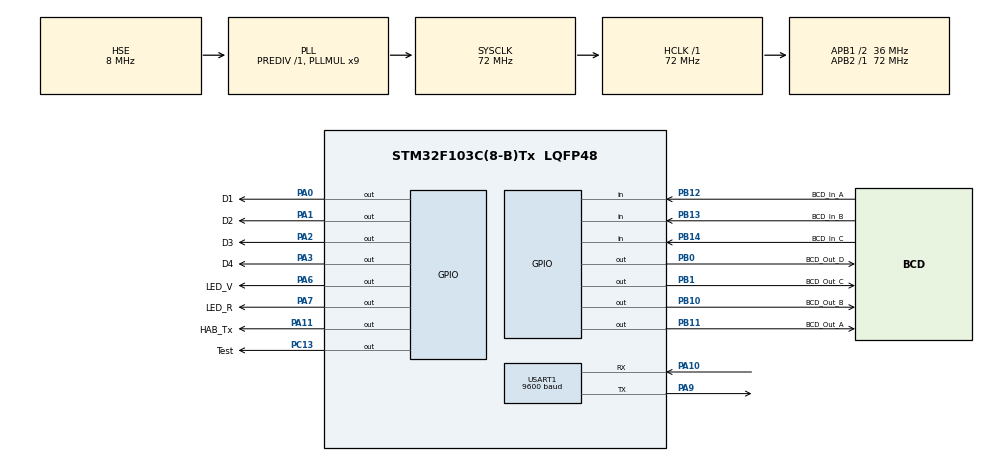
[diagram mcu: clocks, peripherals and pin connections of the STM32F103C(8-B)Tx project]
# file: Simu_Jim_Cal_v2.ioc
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Mcu.Family=STM32F1
Mcu.Name=STM32F103C(8-B)Tx
Mcu.Package=LQFP48
NVIC.PriorityGroup=NVIC_PRIORITYGROUP_4
NVIC.TIM2_IRQn=true\:0\:0\:false\:false\:true\:true\:true
NVIC.USART1_IRQn=true\:0\:0\:false\:false\:true\:true\:true
PA0-WKUP.GPIO_Label=D1
PA0-WKUP.Signal=GPIO_Output
PA1.GPIO_Label=D2
PA1.Signal=GPIO_Output
PA10.Mode=Asynchronous
PA10.Signal=USART1_RX
PA11.GPIO_Label=HAB_Tx
PA11.GPIO_PuPd=GPIO_PULLDOWN
PA11.Signal=GPIO_Output
PA13.Mode=Serial_Wire
PA13.Signal=SYS_JTMS-SWDIO
PA14.Mode=Serial_Wire
PA14.Signal=SYS_JTCK-SWCLK
PA2.GPIO_Label=D3
PA2.Signal=GPIO_Output
PA3.GPIO_Label=D4
PA3.Signal=GPIO_Output
PA6.GPIO_Label=LED_V
PA6.Signal=GPIO_Output
PA7.GPIO_Label=LED_R
PA7.Signal=GPIO_Output
PA9.Mode=Asynchronous
PA9.Signal=USART1_TX
PB0.GPIO_Label=BCD_Out_D
PB0.GPIO_PuPd=GPIO_PULLDOWN
PB0.Signal=GPIO_Output
PB1.GPIO_Label=BCD_Out_C
PB1.GPIO_PuPd=GPIO_PULLDOWN
PB1.Signal=GPIO_Output
PB10.GPIO_Label=BCD_Out_B
PB10.GPIO_PuPd=GPIO_PULLDOWN
PB10.Signal=GPIO_Output
PB11.GPIO_Label=BCD_Out_A
PB11.GPIO_PuPd=GPIO_PULLDOWN
PB11.Signal=GPIO_Output
PB12.GPIO_Label=BCD_In_A
PB12.GPIO_PuPd=GPIO_PULLDOWN
PB12.Signal=GPIO_Input
PB13.GPIO_Label=BCD_In_B
PB13.GPIO_PuPd=GPIO_PULLDOWN
PB13.Signal=GPIO_Input
PB14.GPIO_Label=BCD_In_C
PB14.GPIO_PuPd=GPIO_PULLDOWN
PB14.Signal=GPIO_Input
PC13-TAMPER-RTC.GPIO_Label=Test
PC13-TAMPER-RTC.Signal=GPIO_Output
PD0-OSC_IN.Mode=HSE-External-Oscillator
PD0-OSC_IN.Signal=RCC_OSC_IN
PD1-OSC_OUT.Mode=HSE-External-Oscillator
PD1-OSC_OUT.Signal=RCC_OSC_OUT
ProjectManager.HeapSize=0x200
ProjectManager.StackSize=0x400
ProjectManager.TargetToolchain=STM32CubeIDE
RCC.AHBFreq_Value=72000000
RCC.APB1CLKDivider=RCC_HCLK_DIV2
RCC.APB1Freq_Value=36000000
RCC.APB1TimFreq_Value=72000000
RCC.APB2Freq_Value=72000000
RCC.APB2TimFreq_Value=72000000
RCC.HCLKFreq_Value=72000000
RCC.PLLMUL=RCC_PLL_MUL9
RCC.PLLSourceVirtual=RCC_PLLSOURCE_HSE
RCC.SYSCLKFreq_VALUE=72000000
RCC.SYSCLKSource=RCC_SYSCLKSOURCE_PLLCLK
RCC.USBFreq_Value=72000000
TIM2.Period=7200
TIM2.Prescaler=50
USART1.BaudRate=9600
USART1.VirtualMode=VM_ASYNC
VP_TIM2_VS_ClockSourceINT.Mode=Internal
board=custom

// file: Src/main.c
/* USER CODE BEGIN Header */
/**
  ******************************************************************************
  * Programa para SIMULAR el software de Jim. El equipo cuenta con una placa
  * para controlar el generador, otra para el calculardor de error, y otra para
  * el patrón.
  *
  * Ademas, el calculador controla un display de 4 digitos de 7 segmentos para
  * mostrar un resultado.
  *
  * Ahora cuanta con una llave por el cual se elije el estado. Se muestra un resultado
  * fijo menor y mayor que 1%, segun como esté seleccionado desde la llave.
  *
  * Todas las placas cuentan con un interprete que permite procesar las tramas
  * enviadas. La principal funcion de esto es darle escalabilidad al prototipo
  * para poder partir desde acá cuando hagamos la version definitiva.
  *
  * Este firmware es particularmente para el CALCULADOR DE ERROR.
  *
  * Mensajes propios que puede recibir:
  * TS1: Ensayo de contraste.
  * TS2: Ensayo de arranque.
  * TS3: Ensayo de vacío.
  * TS4: Ensayo de integración.
  * RST: Resetea el calculador y queda a la espera de un nuevo ensayo
  * RLT: PC le pide los resultados.
  *
  * Mensajes que puede enviar:
  * ACK
  * ERR
  *
  * Lista de errores/estados seleccionables con la llave BCD
  * 0-> Sin errores, se sigue trabajando equipo trabaja y el error que muestra es menor a 1%
  * 1-> Resultado mayor a 1%
  * 2-> Devuelve error 001 (seleccionable con la llave)
  * 3-> Devuelve error 002 (seleccionable con la llave)
  * 8-> Error Checksum
  * 9-> Pide resultado sin estar ejecutando un ensayo
  *
  *

  *
  ******************************************************************************
  */
/* USER CODE END Header */

#include "main.h"

/* USER CODE BEGIN Includes */
#include "stdlib.h"

/* USER CODE END Includes */

/* USER CODE BEGIN PD */

#define ID1 'C'
#define ID2 'A'
#define ID3 'L'

/* USER CODE END PD */

TIM_HandleTypeDef htim2;

UART_HandleTypeDef huart1;

void SystemClock_Config(void);
static void MX_GPIO_Init(void);
static void MX_TIM2_Init(void);
static void MX_USART1_UART_Init(void);
/* USER CODE BEGIN PFP */

void Limpia_Recep(void);	//Limpia el vecto donde recibe la trama
void Limpia_Pr(void);		//Limpia el vector que usa para procesar la trama
int  Valida_Cksum(void); 	//Devuelve el codigo del error, si ocurrió
int  Lectura_Trama(void);	//Devuelve el codigo del error, si ocurrió
void Lectura_Trama_Puestos (void);	// Guarda las constantes de los medidores bajo ensayo y cuales puestos se usan

void Genera_Trama_ACK_ERROR (void); //Genera la trama a transmitir que contiene el ACK
void Genera_Trama_RLT (void);  		//Genera la trama a transmitir que contiene los resultados
void Genera_Valores_RLT (int); 	//Genera los valores que se van a usar para los resultados de contraste
void Genera_Valores_AYV (int, int); 	//Genera los valores que se van a usar para los resultados de arranque y vacio

int  Valida_Entradas (void);	//Mira las entradas y escribe en el display

void Envio_tx (void);	//Transmite el vector tx

void Refresca_Display(void);

int Calcula_Relacion (int, int); //Calcula la relacion para arranque y vacio

/* USER CODE END PFP */

/* USER CODE BEGIN 0 */

//Variables para la recepción e interpretación:

uint8_t v_rx[267];	//Vector de recepción. Lo que llega se guarda aca
uint8_t v_tx[227];	//Vector de transmisión. Lo que quiero enviar, lo armo acá
uint8_t v_pr[267];	//Vector de procesamiento. Cuando termina de recibir, se pasa acá para poder seguir recibiendo

//uint8_t i_rx=0;		//Contador de posiciónes de v_rx
uint8_t i_pr=0;		//Contador de posiciónes de v_pr

uint16_t l_rx=0;	//Longitud de v_rx
uint16_t l_tx=0;	//Longitud de v_7x
uint8_t l_pr=0;		//Longitud de v_pr

uint8_t a_rx[1];	//Variable auxiliar donde se guarda el caracter recibido.
uint8_t f_rx=0;		//Flag de recepción en proceso
uint8_t f_tc=0;		//Flag de trama completa

uint8_t Error_rx=0;	//Guarda el error de la recepción, en 0 -> no hubo error.
uint8_t Error_cksum=0;	//Guarda si hay el error en el cksum.

//Variables generales
uint8_t estado=0;	//Maquina de estados principal

uint16_t l_max=269;	//Es la cantidad maxima de caracteres que puede tener una trama
uint8_t  l_min = 27; 	//Es la cantidad minima de caracteres que puede tener una trama mensaje mas corto

uint8_t imprime_display=0;	//Flag para mistrar resultados en el display
uint8_t cont_AYV=0; //Contador para arranque y vacio
uint8_t relacion_AYV; //Relación para arraque y vacio

//Variables para la generación de errores:
uint8_t p_hab[21];	//Puestos habilitados 1->hab, 0->deshab
uint8_t v_rlt[80];	//Valores de los resultados aletorios
uint8_t f_rlt_up=0; //Flag de tiempo cumplido para actualizar los resultados

//Variables de calculo del error.
uint8_t km[21][5]; 	//Constantes de medidores, la fila 0 no se usa, asi quedan los puestos ordenados por los numeros.
uint8_t kp[10]; 	//Constante del medidor
uint8_t xs[4];		//Cantidad de impusos del ensayo
uint8_t rlt[21][5]; //Resultados de los errores de cda puesto, la fila 0 no se usa, asi quedan los puestos ordenados por los numeros.
uint8_t tens=0;		//Tipo de ensayo
uint8_t f_rlt=0;	//Flag de solicitud de resultados.

//Variables para el envío de respuestas
uint8_t e0=0;	//Caracter del codigo del error
uint8_t e1=0;	//Caracter del codigo del error

/* USER CODE END 0 */

int main(void)
{

  /* MCU Configuration--------------------------------------------------------*/

  /* Reset of all peripherals, Initializes the Flash interface and the Systick. */
  HAL_Init();

  /* Configure the system clock */
  SystemClock_Config();

  /* Initialize all configured peripherals */
  MX_GPIO_Init();
  MX_TIM2_Init();
  MX_USART1_UART_Init();
  /* USER CODE BEGIN 2 */

  //Prearo interrupcion para la recepcion, solo sirve para una vez
  HAL_UART_Receive_IT(&huart1, (uint8_t*)a_rx, sizeof(a_rx));

  HAL_TIM_Base_Start_IT(&htim2);

  //Secuencia de arranque con leds en el frente
  HAL_GPIO_WritePin(LED_V_GPIO_Port, LED_V_Pin, 0);
  HAL_GPIO_WritePin(LED_R_GPIO_Port, LED_R_Pin, 0);

  HAL_Delay(1000);
  HAL_GPIO_WritePin(LED_V_GPIO_Port, LED_V_Pin, 1);
  HAL_Delay(1000);
  HAL_GPIO_WritePin(LED_R_GPIO_Port, LED_R_Pin, 1);
  HAL_Delay(1000);
  HAL_GPIO_WritePin(LED_V_GPIO_Port, LED_V_Pin, 0);
  HAL_GPIO_WritePin(LED_R_GPIO_Port, LED_R_Pin, 0);

  //Apago el led en la placa y en el frente
  HAL_GPIO_WritePin(Test_GPIO_Port, Test_Pin, 1);

  /* USER CODE END 2 */

  /* Infinite loop */
  /* USER CODE BEGIN WHILE */
  while (1)
  {
	  //HAL_UART_Transmit_IT(&huart1, (uint8_t*) &caracter, sizeof(caracter));
	  switch(estado)
	  {
		  case 0:	//espera recepción, valida, y pasa
		  {
			  if(f_tc==1)	//Si se completó una trama
			  {
				  Limpia_Recep();	//Limpio el vector de recepción y reseteo las variables
				  Error_cksum=Valida_Cksum(); //Valido trama analizo checksum

				  //Si el cksum esta ok, valido la trama y sigo, si hay error en cksum ignoro la trama
				  if(Error_cksum==0 && v_pr[8]==ID1 && v_pr[9]==ID2 && v_pr[10]==ID3)
				  {
					  estado=1; //Si es para mi y cksum ok, avanzo
				  }

				  //Si no valida el cksum o no es para mi el mensaje, lo ignoro
				  else
				  {
					  estado=0;
				  }
			  }
		  } //Fin case 0
		  break;

		  case 1: //Envía respuesta al mensaje recibido y ejecuta
		  {

			  //Lee lo que tiene la trama y guarda los valores en las variables correspondientes
			  //Si hay error de contenido lo reporta
			  Error_rx=Lectura_Trama();

			  //Simulo errores solo si no hubo errores
			  if(Error_rx==0 || Error_rx==1) Error_rx=Valida_Entradas();

			  //Si no hay error en la trama
			  if(Error_rx==0 || Error_rx==1)
			  {
				  if (tens>=1 && tens<=4) //Cualquiera de los tipos de ensayo que se pueden realizar
				  {
					  //Prendo led testigo de la placa y en el frente
					  HAL_GPIO_WritePin(Test_GPIO_Port, Test_Pin, 0);
					  HAL_GPIO_WritePin(LED_V_GPIO_Port, LED_V_Pin, 1);
					  HAL_GPIO_WritePin(LED_R_GPIO_Port, LED_R_Pin, 0);

					  if(f_rlt==1) //Pide resultados
					  {
						  if (tens==1) //Ensayo de contraste
						  {
							  //Actualizamos los valores cada 5 pedidos de resultados
							  if (f_rlt_up==0)
							  {
								  Genera_Valores_RLT(Error_rx);
							  }

							  f_rlt_up++;

							  if(f_rlt_up==5)
							  {
								  f_rlt_up=0;
							  }

							  //Habilita la impresión en display
							  imprime_display=1;
							  Genera_Trama_RLT();
							  Envio_tx();
							  f_rlt=0;
						  }

						  if (tens==2 || tens==3) //Ensayo de arranque y vacio
						  {
							  relacion_AYV=Calcula_Relacion(Error_rx,tens);

							  Genera_Valores_AYV(cont_AYV, relacion_AYV);

							  cont_AYV++;

							  //Habilita la impresión en display
							  imprime_display=1;
							  Genera_Trama_RLT();
							  Envio_tx();
							  f_rlt=0;
						  }
						  //Genera resultados y los envía
					  }
					  else
					  {
						  //Veo cuales puestos están habilitados y guardo las constantes
						  Lectura_Trama_Puestos();

						  //Envia ACK
						  Genera_Trama_ACK_ERROR();
						  Envio_tx();
					  }

					  //En el equipo real, capaz que acá deberia enviar los datos a los puestos.
				  }
				  else if (tens==5)	//Pide el Stop
				  {
					  cont_AYV=0;
					  //Apago led testigo de la placa y en el frente
					  HAL_GPIO_WritePin(Test_GPIO_Port, Test_Pin, 1);
					  HAL_GPIO_WritePin(LED_V_GPIO_Port, LED_V_Pin, 0);
					  HAL_GPIO_WritePin(LED_R_GPIO_Port, LED_R_Pin, 0);
					  imprime_display=0;
					  //Reporta
					  Genera_Trama_ACK_ERROR();
					  Envio_tx();

					  //Envía Reset a los puestos a traves del otro bus

					  Limpia_Recep();
					  Limpia_Pr();
					  tens=0;
					  f_rlt=0;
					  estado=0;

				  }

				  //segun el comando que recibe, transmite ack o resultados.
			  }

			  //Si hay error en la trama
			  else
			  {
				  //Apago led testigo de la placa y en el frente
				  HAL_GPIO_WritePin(Test_GPIO_Port, Test_Pin, 1);
				  HAL_GPIO_WritePin(LED_V_GPIO_Port, LED_V_Pin, 0);
				  HAL_GPIO_WritePin(LED_R_GPIO_Port, LED_R_Pin, 1);

				  imprime_display=0;

				  //Reporta
				  Genera_Trama_ACK_ERROR();
				  Envio_tx();
			  }

			  //Prepara para volver a recibir
			  Limpia_Recep();
			  Limpia_Pr();
			  estado=0;

		  } //Fin case 1
		  break;

	  }//Fin Switch Principal

    /* USER CODE END WHILE */

  }
}

void SystemClock_Config(void)
{
  RCC_OscInitTypeDef RCC_OscInitStruct = {0};
  RCC_ClkInitTypeDef RCC_ClkInitStruct = {0};

  /** Initializes the CPU, AHB and APB busses clocks
  */
  RCC_OscInitStruct.OscillatorType = RCC_OSCILLATORTYPE_HSE;
  RCC_OscInitStruct.HSEState = RCC_HSE_ON;
  RCC_OscInitStruct.HSEPredivValue = RCC_HSE_PREDIV_DIV1;
  RCC_OscInitStruct.HSIState = RCC_HSI_ON;
  RCC_OscInitStruct.PLL.PLLState = RCC_PLL_ON;
  RCC_OscInitStruct.PLL.PLLSource = RCC_PLLSOURCE_HSE;
  RCC_OscInitStruct.PLL.PLLMUL = RCC_PLL_MUL9;
  if (HAL_RCC_OscConfig(&RCC_OscInitStruct) != HAL_OK)
  {
    Error_Handler();
  }
  /** Initializes the CPU, AHB and APB busses clocks
  */
  RCC_ClkInitStruct.ClockType = RCC_CLOCKTYPE_HCLK|RCC_CLOCKTYPE_SYSCLK
                              |RCC_CLOCKTYPE_PCLK1|RCC_CLOCKTYPE_PCLK2;
  RCC_ClkInitStruct.SYSCLKSource = RCC_SYSCLKSOURCE_PLLCLK;
  RCC_ClkInitStruct.AHBCLKDivider = RCC_SYSCLK_DIV1;
  RCC_ClkInitStruct.APB1CLKDivider = RCC_HCLK_DIV2;
  RCC_ClkInitStruct.APB2CLKDivider = RCC_HCLK_DIV1;

  if (HAL_RCC_ClockConfig(&RCC_ClkInitStruct, FLASH_LATENCY_2) != HAL_OK)
  {
    Error_Handler();
  }
}

static void MX_TIM2_Init(void)
{

  TIM_ClockConfigTypeDef sClockSourceConfig = {0};
  TIM_MasterConfigTypeDef sMasterConfig = {0};

  htim2.Instance = TIM2;
  htim2.Init.Prescaler = 50;
  htim2.Init.CounterMode = TIM_COUNTERMODE_UP;
  htim2.Init.Period = 7200;
  htim2.Init.ClockDivision = TIM_CLOCKDIVISION_DIV1;
  htim2.Init.AutoReloadPreload = TIM_AUTORELOAD_PRELOAD_DISABLE;
  if (HAL_TIM_Base_Init(&htim2) != HAL_OK)
  {
    Error_Handler();
  }
  sClockSourceConfig.ClockSource = TIM_CLOCKSOURCE_INTERNAL;
  if (HAL_TIM_ConfigClockSource(&htim2, &sClockSourceConfig) != HAL_OK)
  {
    Error_Handler();
  }
  sMasterConfig.MasterOutputTrigger = TIM_TRGO_RESET;
  sMasterConfig.MasterSlaveMode = TIM_MASTERSLAVEMODE_DISABLE;
  if (HAL_TIMEx_MasterConfigSynchronization(&htim2, &sMasterConfig) != HAL_OK)
  {
    Error_Handler();
  }

}

static void MX_USART1_UART_Init(void)
{

  huart1.Instance = USART1;
  huart1.Init.BaudRate = 9600;
  huart1.Init.WordLength = UART_WORDLENGTH_8B;
  huart1.Init.StopBits = UART_STOPBITS_1;
  huart1.Init.Parity = UART_PARITY_NONE;
  huart1.Init.Mode = UART_MODE_TX_RX;
  huart1.Init.HwFlowCtl = UART_HWCONTROL_NONE;
  huart1.Init.OverSampling = UART_OVERSAMPLING_16;
  if (HAL_UART_Init(&huart1) != HAL_OK)
  {
    Error_Handler();
  }

}

static void MX_GPIO_Init(void)
{
  GPIO_InitTypeDef GPIO_InitStruct = {0};

  /* GPIO Ports Clock Enable */
  __HAL_RCC_GPIOC_CLK_ENABLE();
  __HAL_RCC_GPIOD_CLK_ENABLE();
  __HAL_RCC_GPIOA_CLK_ENABLE();
  __HAL_RCC_GPIOB_CLK_ENABLE();

  /*Configure GPIO pin Output Level */
  HAL_GPIO_WritePin(Test_GPIO_Port, Test_Pin, GPIO_PIN_RESET);

  /*Configure GPIO pin Output Level */
  HAL_GPIO_WritePin(GPIOA, D1_Pin|D2_Pin|D3_Pin|D4_Pin
                          |LED_V_Pin|LED_R_Pin|HAB_Tx_Pin, GPIO_PIN_RESET);

  /*Configure GPIO pin Output Level */
  HAL_GPIO_WritePin(GPIOB, BCD_Out_D_Pin|BCD_Out_C_Pin|BCD_Out_B_Pin|BCD_Out_A_Pin, GPIO_PIN_RESET);

  /*Configure GPIO pin : Test_Pin */
  GPIO_InitStruct.Pin = Test_Pin;
  GPIO_InitStruct.Mode = GPIO_MODE_OUTPUT_PP;
  GPIO_InitStruct.Pull = GPIO_NOPULL;
  GPIO_InitStruct.Speed = GPIO_SPEED_FREQ_LOW;
  HAL_GPIO_Init(Test_GPIO_Port, &GPIO_InitStruct);

  /*Configure GPIO pins : D1_Pin D2_Pin D3_Pin D4_Pin
                           LED_V_Pin LED_R_Pin */
  GPIO_InitStruct.Pin = D1_Pin|D2_Pin|D3_Pin|D4_Pin
                          |LED_V_Pin|LED_R_Pin;
  GPIO_InitStruct.Mode = GPIO_MODE_OUTPUT_PP;
  GPIO_InitStruct.Pull = GPIO_NOPULL;
  GPIO_InitStruct.Speed = GPIO_SPEED_FREQ_LOW;
  HAL_GPIO_Init(GPIOA, &GPIO_InitStruct);

  /*Configure GPIO pins : BCD_Out_D_Pin BCD_Out_C_Pin BCD_Out_B_Pin BCD_Out_A_Pin */
  GPIO_InitStruct.Pin = BCD_Out_D_Pin|BCD_Out_C_Pin|BCD_Out_B_Pin|BCD_Out_A_Pin;
  GPIO_InitStruct.Mode = GPIO_MODE_OUTPUT_PP;
  GPIO_InitStruct.Pull = GPIO_PULLDOWN;
  GPIO_InitStruct.Speed = GPIO_SPEED_FREQ_LOW;
  HAL_GPIO_Init(GPIOB, &GPIO_InitStruct);

  /*Configure GPIO pins : BCD_In_A_Pin BCD_In_B_Pin BCD_In_C_Pin */
  GPIO_InitStruct.Pin = BCD_In_A_Pin|BCD_In_B_Pin|BCD_In_C_Pin;
  GPIO_InitStruct.Mode = GPIO_MODE_INPUT;
  GPIO_InitStruct.Pull = GPIO_PULLDOWN;
  HAL_GPIO_Init(GPIOB, &GPIO_InitStruct);

  /*Configure GPIO pin : HAB_Tx_Pin */
  GPIO_InitStruct.Pin = HAB_Tx_Pin;
  GPIO_InitStruct.Mode = GPIO_MODE_OUTPUT_PP;
  GPIO_InitStruct.Pull = GPIO_PULLDOWN;
  GPIO_InitStruct.Speed = GPIO_SPEED_FREQ_LOW;
  HAL_GPIO_Init(HAB_Tx_GPIO_Port, &GPIO_InitStruct);

}

/* USER CODE BEGIN 4 */

void HAL_UART_RxCpltCallback(UART_HandleTypeDef *huart)
{
	static uint8_t i_rx=0;
	if (f_rx==0) //Si no está recibiendo
	{
		if (a_rx[0]=='B') //Pregunta si escomienzo de trama
		{
			i_rx=0;
			v_rx[i_rx]=a_rx[0];
			f_rx=1;	//Preparo para seguir ricibiendo la trama
		}
	}
	else	//Si ya comenzó a recibir la trama (recibió la B)
	{
		i_rx++;
		v_rx[i_rx]=a_rx[0];

		if (a_rx[0]=='Z') //Caracter de fin de trama
		{
			l_rx = i_rx + 3;
		}

		if (i_rx==l_rx)	//Llegó al final de la trama
		{
			f_rx=0;	//Preparo para recibir la proxima trama

			i_rx=0;

			l_pr=l_rx; //Guardo la longitud del vector recibido

			l_rx=l_max; //maxima longirud para comparar la proxima pasada
			l_rx--;

			f_tc=1; //Flag de trama completa
		}

		}

	//Prearo interrupcion para la recepcion, solo sirve para una vez
	  	HAL_UART_Receive_IT(&huart1, (uint8_t*)a_rx, sizeof(a_rx));

}	//FIN UART

void HAL_TIM_PeriodElapsedCallback(TIM_HandleTypeDef *htim)
{
//	static uint8_t aux=0;
	static uint8_t i=0;
	static uint8_t t_rlt=0;

//	//Lectura de llaves, guardo en una variable que no me interesa, solo quiero actualizar el display
//	aux=Valida_Entradas();
//	aux++;

	//time to live de la recepción
	if (f_rx==1)
	{
		//Si tarda mas de un segundo en completar la recepción
		if(i==200)
		{
			f_rx=0;
		}
		i++;
	}
	else
	{
		i=0;
	}

	//Refresco de los resultados que se envían:
	 t_rlt++;
	 if(t_rlt==1000)
	 {
		 f_rlt_up=1;
		 t_rlt=0;
	 }

	 //Refresco el display
	 Refresca_Display();

//		HAL_GPIO_TogglePin(Test_GPIO_Port, Test_Pin);
}	//Fin timer 2

void Limpia_Recep(void)	//Limpia lo relacionado a la recepción y prepara una nueva
{
	uint16_t i=0;
	for (i=0;i<=l_max-1;i++)
	{
		v_pr[i]=v_rx[i]; //Lleno de espaciós vacios
	}
//
//
//	//Limpia vector de recepcion
//	for (i=0;i<=l_max-1;i++)
//	{
//		v_rx[i]='0'; //Lleno de espaciós vacios
//	}

//	//Limpia vector de transmision
//	for (i=0;i<=l_max-1;i++)
//	{
//		v_tx[i]=' '; //Lleno de espaciós vacios
//	}

	a_rx[0]=0;
//	i_rx=0;
	l_rx=l_max;
	l_rx--;
	f_rx=0;
	f_tc=0;

} //Fin Limpia Recep

void Limpia_Pr(void)
{
	uint16_t i=0;

	for (i=0;i<=l_max-1;i++)
	{
		v_pr[i]=' '; //Lleno de espaciós vacios
	}

} //Fin limpia Pr

int Valida_Cksum(void)
{
	//Variables locales
	uint8_t Error=0;
	uint8_t cksum=0;
	uint16_t i=0;

	//Validación del checksum

	for(i=0;i<=l_pr-1;i++)
	{
		cksum+=v_pr[i];
	}

	if(cksum=='B' || cksum=='Z' || cksum==10) cksum++;

	if(cksum==v_pr[l_pr])	//Verifico el cksm
	{
		Error=0;
	}
	else Error=8;	//No cumple cksm

	//Para probar
//	Error=0;

	return (Error);

} //Fin Valida_Trama

void Lectura_Trama_Puestos (void)
{
	//Lee los datos de los puestos de cada trama, los que tienen constante son los que se usan
	//Se envían los 20 puestos siempre, aunque no se usen todos

	uint8_t i=0; 	//variable de uso gral
	uint8_t i_wr=0;	//Posición de escritura (fila)
	uint8_t j_wr=0;	//Posición de escritura (columna)

	//Leemos las constantes de cada puesto
	i_wr=0;	//Columnas
	j_wr=0; //Filas

	for(i_wr=1;i_wr<=20;i_wr++)	//Columnas de la matriz
	{
		for(j_wr=0;j_wr<=4;j_wr++) //Filas de la matriz
		{
			//Los datos empiezan en la posición 48 de la trama
			i= 48 + j_wr + (i_wr-1)*10;
			km[i_wr][j_wr]=v_pr[i];

		}

		//Si km vino vacia, el puesto no se usa
		if (km[i_wr][0]==' ' && km[i_wr][1]==' ' && km[i_wr][2]==' ' && km[i_wr][3]==' ') p_hab[i_wr]=0;
		else  p_hab[i_wr]=1;
	}

} //Fin Lectura_Trama_Puestos

int Lectura_Trama (void)
{
	//Variables locales
	uint8_t Error=0;
	uint8_t i_rd=0;	//Posición de lectura
	uint8_t i_wr=0;	//Posición de escritura (fila)
	uint8_t v_ax[10];	//vector auxiliar de lectura

	//El vector tiene datos a partir de la posición 13 inclusive

	//Lectura de la instrucción:
	for(i_rd=13;i_rd<=20;i_rd++)
	{
		v_ax[i_wr]=v_pr[i_rd];
		i_wr++;
	}

		 if(v_ax[0]=='T' && v_ax[1]=='S' && v_ax[2]=='1') tens=1;	//TS1 (contraste)
	else if(v_ax[0]=='T' && v_ax[1]=='S' && v_ax[2]=='2') tens=2;	//TS2 (arranque)
	else if(v_ax[0]=='T' && v_ax[1]=='S' && v_ax[2]=='3') tens=3;	//TS3 (vacio)
	else if(v_ax[0]=='T' && v_ax[1]=='S' && v_ax[2]=='4') tens=4;	//TS4 (integración)
	else if(v_ax[0]=='S' && v_ax[1]=='T' && v_ax[2]=='P') tens=5;	//STP (reset)
	else if(v_ax[0]=='S' && v_ax[1]=='T' && v_ax[2]=='D') f_rlt=1;	//STD (resultados)
	else Error=2; //Mensaje incorrecto

	//Si pido resultados sin estar ejecutando un ensayo, debuelve error
	if ((tens==0 || tens>4) && f_rlt==1)
	{
		f_rlt=0;
		Error=9;
	}

	//Lectura del resto de los datos. a partir de la posición 23
	if(tens==1) //Si hay ensayo de contraste, levanto los datos de KP y XS
	{
		//Leemos kp y lo guardamos en la posición correcta
		i_wr=0;
		for(i_rd=23;i_rd<=32;i_rd++)
			{
				kp[i_wr]=v_pr[i_rd];
				i_wr++;
			}
		//Leemos xs y lo guardamos en la posición correcta
		i_wr=0;
		for(i_rd=39;i_rd<=42;i_rd++)
		{
			xs[i_wr]=v_pr[i_rd];
			i_wr++;
		}

	}

	return (Error);
} //Fin Lectura_Trama

void Genera_Trama_ACK_ERROR (void) //Genera la trama a transmitir que contiene el ACK con el codigo del error (cero es sin error)
{
	uint8_t i=0;
	uint8_t cksum=0;

	static uint8_t r1=0;
	static uint8_t r2=0;
	static uint8_t r3=0;
	//Convierto el error a ascii, como maximo dos digitos tiene:
	e0=Error_rx%10;	//Obtengo unidad
	e1=Error_rx/10; //Obtengo decena

	if(Error_rx==0 || Error_rx==1)
	{
		r1='A';
		r2='C';
		r3='K';
	}
	else
	{
		r1='E';
		r2='R';
		r3='R';
	}

	//Armo el vector

	v_tx[0] ='B';
	v_tx[1] ='|';
	v_tx[2] =' ';
	v_tx[3] =ID1;	//Origen
	v_tx[4] =ID2;
	v_tx[5] =ID3;
	v_tx[6] ='|';
	v_tx[7] =' ';
	v_tx[8] ='P';	//Destino
	v_tx[9] ='C';
	v_tx[10]='S';
	v_tx[11]='|';
	v_tx[12]=' ';
	v_tx[13]=r1;
	v_tx[14]=r2;
	v_tx[15]=r3;
	v_tx[16]='0';
	v_tx[17]='0';
	v_tx[18]='0';
	v_tx[19]= e1 + 48;
	v_tx[20]= e0 + 48;
	v_tx[21]='|';
	v_tx[22]=' ';
	v_tx[23]='Z';
	v_tx[24]='|';
	v_tx[25]=' ';

	cksum=0;

	for(i=0;i<=25;i++)
	{
		cksum+=v_tx[i];
	}

	if(cksum=='B' || cksum=='Z' || cksum==10) cksum++;

	v_tx[26]=cksum;

	// \n al final
	v_tx[27]=10;

	l_tx=28;	//Longitud para transmitir

} //Fin Genera Trama ACK

void Genera_Trama_RLT (void)
{
	uint8_t i=0;
	uint8_t k=0;
	uint8_t cksum=0;
	uint8_t aux=0;

	//En una funcion aparte, genero resultados aleatorios para todos los puestos. Cada cierto tiempo habilito que se cargen al vector de transmisión.

	//Siempre envía 20 resultados. Si el puesto esta vacío, no manda nada. Tiene que generar el signo
	//Los resultados los carga cuando pasa cierto tiempo, asi no se actualzan cada vez que se piden resultados

	//Armo cabecera del vector
	v_tx[0] ='B';
	v_tx[1] ='|';
	v_tx[2] =' ';
	v_tx[3] =ID1;	//Origen
	v_tx[4] =ID2;
	v_tx[5] =ID3;
	v_tx[6] ='|';
	v_tx[7] =' ';
	v_tx[8] ='P';	//Destino
	v_tx[9] ='C';
	v_tx[10]='S';

	//A partir de acá mando los errores. Siempre mando todos, los que tienen info son los que fueron habilitados
	//Actualizo la información cuando pasa cierto tiempo

	//Escribo los nombres de los puestos y los separadores
	for(i=11;i<=91;i+=10)
	{
		v_tx[i]  ='|';
		v_tx[i+1]=' ';
		v_tx[i+2]='P';
		v_tx[i+3]='0';
		v_tx[i+4]= (i/10)+48;
	}

	for(i=101;i<=201;i+=10)
	{
		v_tx[i]  ='|';
		v_tx[i+1]=' ';
		v_tx[i+2]='P';
		v_tx[i+3]='1';
		v_tx[i+4]= ((i%100)/10)+48;
	}

	v_tx[204]='2';

	k=0;

	for(i=17;i<=207;i+=10)
	{
		//Si el puesto en cuestión está habilitado actualiza el valor, sino deja el espacio vacio.
		// v_rlt ya esta en ascii
		if(p_hab[i/10]==1)
		{
			v_tx[i]=v_rlt[k];
			k++;
			v_tx[i+1]=v_rlt[k];
			k++;
			v_tx[i+2]=v_rlt[k];
			k++;
			v_tx[i+3]=v_rlt[k];
			k++;

		}
	}

	//Ponemos los signos aleatoreamente
	for(i=16;i<=206;i+=10)
	{
		aux=(rand()%2);
		if (aux==1) v_tx[i]='+';
		else v_tx[i]='-';
	}

	//Parte final de la trama
	v_tx[211]='|';
	v_tx[212]=' ';
	v_tx[213]='Z';
	v_tx[214]='|';
	v_tx[215]=' ';

	cksum=0;

	for(i=0;i<=215;i++)
	{
		cksum+=v_tx[i];
	}

	if(cksum=='B' || cksum=='Z' || cksum==10) cksum++;

	v_tx[216]=cksum;

	// \n
	v_tx[217]=10;

	l_tx=218;

}//Fin Genera_Trama_RLT

void Genera_Valores_RLT (int error) 	//Genera los valores que se van a usar para los resultados
{
	uint8_t i=0;

	//Genera los valores. Si la llave está en cero el error es menor a 1%, sino es mayor

	for(i=0;i<=79;i+=4)
	{
		//Guarda en ascii
		v_rlt[i]  = 0 + 48;
		if(error==0)
		{
			v_rlt[i+1]= 0 + 48;
		}
		else
		{
			v_rlt[i+1]= 1 + 48;
		}
		v_rlt[i+2]= (rand() % 10) + 48;
		v_rlt[i+3]= (rand() % 10) + 48;
	}

} //Genera_Valores_RLT

void Genera_Valores_AYV (int contador, int relacion) 	//Genera los valores que se van a usar para los resultados
{
	uint8_t i=0;

	//Genera los valores. Si la llave está en cero el error es menor a 1%, sino es mayor

	for(i=0;i<=79;i+=4)
	{
		//Guarda en ascii
		v_rlt[i]  = 0 + 48;
		v_rlt[i+1]= 0 + 48;
		v_rlt[i+2]= 0 + 48;
		v_rlt[i+3]= (contador/relacion) + 48;
	}

} //Genera_Valores_RLT

int Valida_Entradas (void)
{
	//Lee la llave en BCD de 3 digitos
	uint8_t BCD[3];
	uint8_t valor=0;

	BCD[0]= HAL_GPIO_ReadPin(BCD_In_A_GPIO_Port, BCD_In_A_Pin);
	BCD[1]= HAL_GPIO_ReadPin(BCD_In_B_GPIO_Port, BCD_In_B_Pin);
	BCD[2]= HAL_GPIO_ReadPin(BCD_In_C_GPIO_Port, BCD_In_C_Pin);

	//Calcula el valor
	valor = BCD[0]*1 + BCD[1]*2 + BCD[2]*4;

return(valor);

} //Fin valida entradas

void Envio_tx (void)
{
	//Habilito la transmisión
	  HAL_GPIO_WritePin(HAB_Tx_GPIO_Port, HAB_Tx_Pin, 1);
	  HAL_Delay(50);

	  //Envio
	  HAL_UART_Transmit_IT(&huart1, (uint8_t*) &v_tx, l_tx);
	  HAL_Delay(250);

	  //Deshabilito la transmision
	  HAL_GPIO_WritePin(HAB_Tx_GPIO_Port, HAB_Tx_Pin, 0);
}	//Fin Envio_tx

void Refresca_Display(void)
{
	//Refresca el display, mostrando el primer error.
	//Esta funcion se ejecuta en el timer
	uint8_t Digito=0;
	static uint8_t i=0;

	//Separo el digito que voy a mostrar
	Digito=v_rlt[i]-48;

	//Escribo en BCD con una tabla
	switch (Digito)
	{
	case 0:
		HAL_GPIO_WritePin(BCD_Out_A_GPIO_Port, BCD_Out_A_Pin, 0);
		HAL_GPIO_WritePin(BCD_Out_B_GPIO_Port, BCD_Out_B_Pin, 0);
		HAL_GPIO_WritePin(BCD_Out_C_GPIO_Port, BCD_Out_C_Pin, 0);
		HAL_GPIO_WritePin(BCD_Out_D_GPIO_Port, BCD_Out_D_Pin, 0);
		break;

	case 1:
		HAL_GPIO_WritePin(BCD_Out_A_GPIO_Port, BCD_Out_A_Pin, 1);
		HAL_GPIO_WritePin(BCD_Out_B_GPIO_Port, BCD_Out_B_Pin, 0);
		HAL_GPIO_WritePin(BCD_Out_C_GPIO_Port, BCD_Out_C_Pin, 0);
		HAL_GPIO_WritePin(BCD_Out_D_GPIO_Port, BCD_Out_D_Pin, 0);
		break;

	case 2:
		HAL_GPIO_WritePin(BCD_Out_A_GPIO_Port, BCD_Out_A_Pin, 0);
		HAL_GPIO_WritePin(BCD_Out_B_GPIO_Port, BCD_Out_B_Pin, 1);
		HAL_GPIO_WritePin(BCD_Out_C_GPIO_Port, BCD_Out_C_Pin, 0);
		HAL_GPIO_WritePin(BCD_Out_D_GPIO_Port, BCD_Out_D_Pin, 0);
		break;

	case 3:
		HAL_GPIO_WritePin(BCD_Out_A_GPIO_Port, BCD_Out_A_Pin, 1);
		HAL_GPIO_WritePin(BCD_Out_B_GPIO_Port, BCD_Out_B_Pin, 1);
		HAL_GPIO_WritePin(BCD_Out_C_GPIO_Port, BCD_Out_C_Pin, 0);
		HAL_GPIO_WritePin(BCD_Out_D_GPIO_Port, BCD_Out_D_Pin, 0);
		break;

	case 4:
		HAL_GPIO_WritePin(BCD_Out_A_GPIO_Port, BCD_Out_A_Pin, 0);
		HAL_GPIO_WritePin(BCD_Out_B_GPIO_Port, BCD_Out_B_Pin, 0);
		HAL_GPIO_WritePin(BCD_Out_C_GPIO_Port, BCD_Out_C_Pin, 1);
		HAL_GPIO_WritePin(BCD_Out_D_GPIO_Port, BCD_Out_D_Pin, 0);
		break;

	case 5:
		HAL_GPIO_WritePin(BCD_Out_A_GPIO_Port, BCD_Out_A_Pin, 1);
		HAL_GPIO_WritePin(BCD_Out_B_GPIO_Port, BCD_Out_B_Pin, 0);
		HAL_GPIO_WritePin(BCD_Out_C_GPIO_Port, BCD_Out_C_Pin, 1);
		HAL_GPIO_WritePin(BCD_Out_D_GPIO_Port, BCD_Out_D_Pin, 0);
		break;

	case 6:
		HAL_GPIO_WritePin(BCD_Out_A_GPIO_Port, BCD_Out_A_Pin, 0);
		HAL_GPIO_WritePin(BCD_Out_B_GPIO_Port, BCD_Out_B_Pin, 1);
		HAL_GPIO_WritePin(BCD_Out_C_GPIO_Port, BCD_Out_C_Pin, 1);
		HAL_GPIO_WritePin(BCD_Out_D_GPIO_Port, BCD_Out_D_Pin, 0);
		break;

	case 7:
		HAL_GPIO_WritePin(BCD_Out_A_GPIO_Port, BCD_Out_A_Pin, 1);
		HAL_GPIO_WritePin(BCD_Out_B_GPIO_Port, BCD_Out_B_Pin, 1);
		HAL_GPIO_WritePin(BCD_Out_C_GPIO_Port, BCD_Out_C_Pin, 1);
		HAL_GPIO_WritePin(BCD_Out_D_GPIO_Port, BCD_Out_D_Pin, 0);
		break;

	case 8:
		HAL_GPIO_WritePin(BCD_Out_A_GPIO_Port, BCD_Out_A_Pin, 0);
		HAL_GPIO_WritePin(BCD_Out_B_GPIO_Port, BCD_Out_B_Pin, 0);
		HAL_GPIO_WritePin(BCD_Out_C_GPIO_Port, BCD_Out_C_Pin, 0);
		HAL_GPIO_WritePin(BCD_Out_D_GPIO_Port, BCD_Out_D_Pin, 1);
		break;

	case 9:
		HAL_GPIO_WritePin(BCD_Out_A_GPIO_Port, BCD_Out_A_Pin, 1);
		HAL_GPIO_WritePin(BCD_Out_B_GPIO_Port, BCD_Out_B_Pin, 0);
		HAL_GPIO_WritePin(BCD_Out_C_GPIO_Port, BCD_Out_C_Pin, 0);
		HAL_GPIO_WritePin(BCD_Out_D_GPIO_Port, BCD_Out_D_Pin, 1);
		break;
	}

	//Habilito el digito que corresponda en el display, si se puede mostrar

	if (imprime_display==1)
	{

		switch (i)
		{
		case 0:
			HAL_GPIO_WritePin(D1_GPIO_Port, D1_Pin, 1);
			HAL_GPIO_WritePin(D2_GPIO_Port, D2_Pin, 0);
			HAL_GPIO_WritePin(D3_GPIO_Port, D3_Pin, 0);
			HAL_GPIO_WritePin(D4_GPIO_Port, D4_Pin, 0);
			break;

		case 1:
			HAL_GPIO_WritePin(D1_GPIO_Port, D1_Pin, 0);
			HAL_GPIO_WritePin(D2_GPIO_Port, D2_Pin, 1);
			HAL_GPIO_WritePin(D3_GPIO_Port, D3_Pin, 0);
			HAL_GPIO_WritePin(D4_GPIO_Port, D4_Pin, 0);
			break;

		case 2:
			HAL_GPIO_WritePin(D1_GPIO_Port, D1_Pin, 0);
			HAL_GPIO_WritePin(D2_GPIO_Port, D2_Pin, 0);
			HAL_GPIO_WritePin(D3_GPIO_Port, D3_Pin, 1);
			HAL_GPIO_WritePin(D4_GPIO_Port, D4_Pin, 0);
			break;

		case 3:
			HAL_GPIO_WritePin(D1_GPIO_Port, D1_Pin, 0);
			HAL_GPIO_WritePin(D2_GPIO_Port, D2_Pin, 0);
			HAL_GPIO_WritePin(D3_GPIO_Port, D3_Pin, 0);
			HAL_GPIO_WritePin(D4_GPIO_Port, D4_Pin, 1);
			break;
		}
	}
	else
	{
		HAL_GPIO_WritePin(D1_GPIO_Port, D1_Pin, 0);
		HAL_GPIO_WritePin(D2_GPIO_Port, D2_Pin, 0);
		HAL_GPIO_WritePin(D3_GPIO_Port, D3_Pin, 0);
		HAL_GPIO_WritePin(D4_GPIO_Port, D4_Pin, 0);
	}

	i++;
	if(i==4)
	{
		i=0;
	}

}

int Calcula_Relacion (int Error_rx, int tens)
{
	//Arranque funcionando ok
	if (tens==2 && Error_rx==0)
	{
		return(1);
	}

	//Arranque funcionando mal
	if (tens==2 && Error_rx==1)
	{
		return(4);
	}

	//Vacio funcionando ok
	if (tens==3 && Error_rx==0)
	{
		return(4);
	}

	//Vacio funcionando mal
	if (tens==3 && Error_rx==1)
	{
		return(1);
	}

	return (1);

}

/* USER CODE END 4 */

void Error_Handler(void)
{
}

/************************ (C) COPYRIGHT STMicroelectronics *****END OF FILE****/
